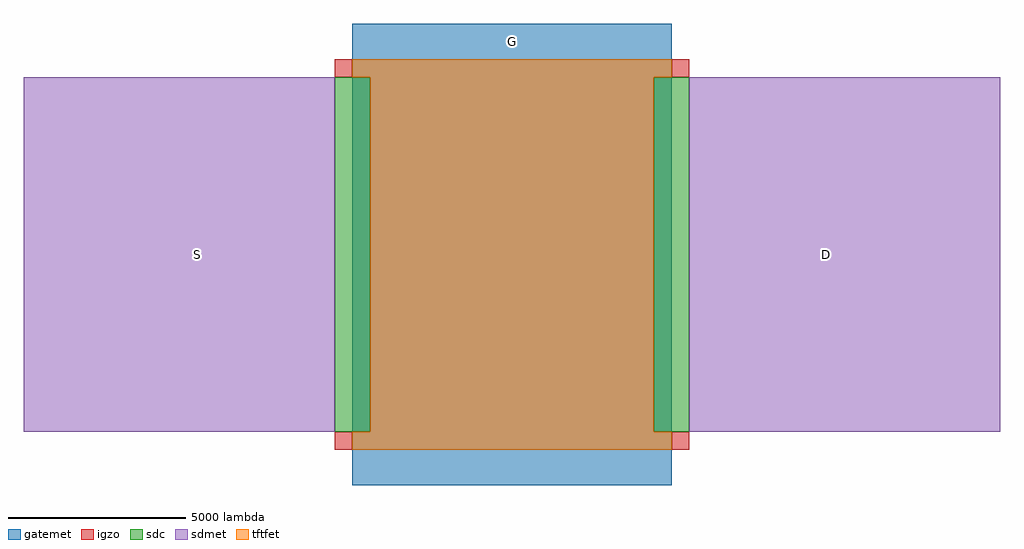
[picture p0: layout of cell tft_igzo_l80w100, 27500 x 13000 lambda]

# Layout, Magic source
magic
tech igzo_mmm_lab
<< igzo >>
rect -5000 5000 -4500 5500
rect 4500 5000 5000 5500
rect -5000 -5500 -4500 -5000
rect 4500 -5500 5000 -5000
<< tftfet >>
rect -4500 5000 4500 5500
rect -4000 -5000 4000 5000
rect -4500 -5500 4500 -5000
<< sdc >>
rect -5000 -5000 -4000 5000
rect 4000 -5000 5000 5000
<< sdmet >>
rect -13750 -5000 -5000 5000
rect 5000 -5000 13750 5000
<< gatemet >>
rect -4500 -6500 4500 6500
<< labels >>
rlabel sdmet s -9363 -488 -8387 488 4 S
port 3 nsew
rlabel sdmet s 8387 -488 9363 488 4 D
port 5 nsew
rlabel gatemet s -488 5512 488 6488 4 G
port 7 nsew
<< end >>
